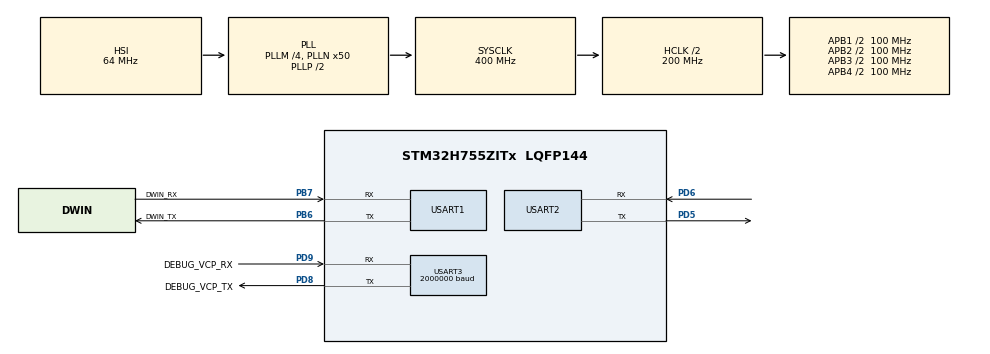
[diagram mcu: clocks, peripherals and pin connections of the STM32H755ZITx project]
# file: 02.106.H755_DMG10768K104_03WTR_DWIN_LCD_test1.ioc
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CortexM4.IPs=FATFS_M4\:I,FREERTOS_M4\:I,IWDG2\:I,RCC,WWDG2\:I,DMA,BDMA,MDMA,NVIC2\:I,ETH,DEBUG,PDM2PCM_M4\:I,PWR,RESMGR_UTILITY,SYS_M4\:I,USB_DEVICE_M4\:I,USB_HOST_M4\:I,CORTEX_M4\:I,GPIO,OPENAMP_M4\:I,VREFBUF,NUCLEO-H755ZI-Q
CortexM7.IPs=FATFS_M7\:I,FREERTOS_M7\:I,IWDG1\:I,RCC\:I,WWDG1\:I,DMA\:I,BDMA\:I,MDMA\:I,NVIC1\:I,ETH\:I,USART3\:I,USB_OTG_FS\:I,SYS\:I,CORTEX_M7\:I,DEBUG\:I,PDM2PCM_M7\:I,PWR\:I,RESMGR_UTILITY\:I,USB_DEVICE_M7\:I,USB_HOST_M7\:I,GPIO\:I,OPENAMP_M7\:I,VREFBUF\:I,NUCLEO-H755ZI-Q\:I,USART1\:I,USART2\:I
Dma.Request0=USART3_TX
Dma.Request1=USART3_RX
Dma.USART3_RX.1.Direction=DMA_PERIPH_TO_MEMORY
Dma.USART3_RX.1.EventEnable=DISABLE
Dma.USART3_RX.1.FIFOMode=DMA_FIFOMODE_DISABLE
Dma.USART3_RX.1.Instance=DMA1_Stream1
Dma.USART3_RX.1.MemDataAlignment=DMA_MDATAALIGN_BYTE
Dma.USART3_RX.1.MemInc=DMA_MINC_ENABLE
Dma.USART3_RX.1.Mode=DMA_CIRCULAR
Dma.USART3_RX.1.PeriphDataAlignment=DMA_PDATAALIGN_BYTE
Dma.USART3_RX.1.PeriphInc=DMA_PINC_DISABLE
Dma.USART3_RX.1.Polarity=HAL_DMAMUX_REQ_GEN_RISING
Dma.USART3_RX.1.Priority=DMA_PRIORITY_LOW
Dma.USART3_RX.1.RequestNumber=1
Dma.USART3_RX.1.SignalID=NONE
Dma.USART3_RX.1.SyncEnable=DISABLE
Dma.USART3_RX.1.SyncPolarity=HAL_DMAMUX_SYNC_NO_EVENT
Dma.USART3_RX.1.SyncRequestNumber=1
Dma.USART3_RX.1.SyncSignalID=NONE
Dma.USART3_TX.0.Direction=DMA_MEMORY_TO_PERIPH
Dma.USART3_TX.0.EventEnable=DISABLE
Dma.USART3_TX.0.FIFOMode=DMA_FIFOMODE_DISABLE
Dma.USART3_TX.0.Instance=DMA1_Stream0
Dma.USART3_TX.0.MemDataAlignment=DMA_MDATAALIGN_BYTE
Dma.USART3_TX.0.MemInc=DMA_MINC_ENABLE
Dma.USART3_TX.0.Mode=DMA_NORMAL
Dma.USART3_TX.0.PeriphDataAlignment=DMA_PDATAALIGN_BYTE
Dma.USART3_TX.0.PeriphInc=DMA_PINC_DISABLE
Dma.USART3_TX.0.Polarity=HAL_DMAMUX_REQ_GEN_RISING
Dma.USART3_TX.0.Priority=DMA_PRIORITY_LOW
Dma.USART3_TX.0.RequestNumber=1
Dma.USART3_TX.0.SignalID=NONE
Dma.USART3_TX.0.SyncEnable=DISABLE
Dma.USART3_TX.0.SyncPolarity=HAL_DMAMUX_SYNC_NO_EVENT
Dma.USART3_TX.0.SyncRequestNumber=1
Dma.USART3_TX.0.SyncSignalID=NONE
Mcu.Family=STM32H7
Mcu.Name=STM32H755ZITx
Mcu.Package=LQFP144
NVIC1.DMA1_Stream0_IRQn=true\:1\:0\:true\:false\:true\:false\:true\:true
NVIC1.DMA1_Stream1_IRQn=true\:1\:0\:true\:false\:true\:false\:true\:true
NVIC1.PriorityGroup=NVIC_PRIORITYGROUP_4
NVIC1.USART1_IRQn=true\:0\:0\:false\:false\:true\:true\:true\:true
NVIC1.USART2_IRQn=true\:0\:0\:false\:false\:true\:true\:true\:true
NVIC1.USART3_IRQn=true\:1\:0\:true\:false\:true\:true\:true\:true
NVIC2.PriorityGroup=NVIC_PRIORITYGROUP_4
PB6.GPIO_Label=DWIN_TX
PB6.Mode=Asynchronous
PB6.PinAttribute=CortexM7
PB6.Signal=USART1_TX
PB7.GPIO_Label=DWIN_RX
PB7.Mode=Asynchronous
PB7.PinAttribute=CortexM7
PB7.Signal=USART1_RX
PD5.Mode=Asynchronous
PD5.PinAttribute=CortexM7
PD5.Signal=USART2_TX
PD6.Mode=Asynchronous
PD6.PinAttribute=CortexM7
PD6.Signal=USART2_RX
PD8.GPIO_Label=DEBUG_VCP_TX
PD8.Mode=Asynchronous
PD8.PinAttribute=CortexM7
PD8.Signal=USART3_TX
PD8.TagName=VCP_RX
PD9.GPIO_Label=DEBUG_VCP_RX
PD9.Mode=Asynchronous
PD9.PinAttribute=CortexM7
PD9.Signal=USART3_RX
PD9.TagName=VCP_TX
ProjectManager.HeapSize=M4-0x200,M7-0x200
ProjectManager.StackSize=M4-0x400,M7-0x400
ProjectManager.TargetToolchain=STM32CubeIDE
RCC.ADCFreq_Value=129000000
RCC.APB1Freq_Value=100000000
RCC.APB2Freq_Value=100000000
RCC.APB3Freq_Value=100000000
RCC.APB4Freq_Value=100000000
RCC.CortexFreq_Value=400000000
RCC.D1PPRE=RCC_APB3_DIV2
RCC.D2PPRE1=RCC_APB1_DIV2
RCC.D2PPRE2=RCC_APB2_DIV2
RCC.D3PPRE=RCC_APB4_DIV2
RCC.DIVM1=4
RCC.DIVN1=50
RCC.DIVQ1=5
RCC.HCLKFreq_Value=200000000
RCC.HPRE=RCC_HCLK_DIV2
RCC.PLL2FRACN=0
RCC.PLL3FRACN=0
RCC.PLLFRACN=0
RCC.SYSCLKFreq_VALUE=400000000
RCC.SYSCLKSource=RCC_SYSCLKSOURCE_PLLCLK
RCC.SupplySource=PWR_DIRECT_SMPS_SUPPLY
RCC.USBFreq_Value=160000000
USART1.VirtualMode-Asynchronous=VM_ASYNC
USART2.VirtualMode-Asynchronous=VM_ASYNC
USART3.BaudRate=2000000
USART3.VirtualMode-Asynchronous=VM_ASYNC
VP_SYS_M4_VS_Systick.Mode=SysTick
board=NUCLEO-H755ZI-Q

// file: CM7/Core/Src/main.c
/* USER CODE BEGIN Header */
/**
  ******************************************************************************
  * @file           : main.c
  * @brief          : Main program body
  ******************************************************************************
  * @attention
  *
  * Copyright (c) 2026 STMicroelectronics.
  * All rights reserved.
  *
  * This software is licensed under terms that can be found in the LICENSE file
  * in the root directory of this software component.
  * If no LICENSE file comes with this software, it is provided AS-IS.
  *
  ******************************************************************************
  */
/* USER CODE END Header */
#include "main.h"

/* USER CODE BEGIN Includes */
#include <stdio.h>
#include <string.h>
#include <stddef.h>
#include <stdarg.h>
#include <stdbool.h>
#include <stdlib.h>
#include "dwin.h"
/* USER CODE END Includes */

/* USER CODE BEGIN PD */

/* DUAL_CORE_BOOT_SYNC_SEQUENCE: Define for dual core boot synchronization    */
/*                             demonstration code based on hardware semaphore */
/* This define is present in both CM7/CM4 projects                            */
/* To comment when developping/debugging on a single core                     */
#define DUAL_CORE_BOOT_SYNC_SEQUENCE

#if defined(DUAL_CORE_BOOT_SYNC_SEQUENCE)
#ifndef HSEM_ID_0
#define HSEM_ID_0 (0U) /* HW semaphore 0*/
#endif
#endif /* DUAL_CORE_BOOT_SYNC_SEQUENCE */

/* USER CODE END PD */

UART_HandleTypeDef huart1;
UART_HandleTypeDef huart4;
UART_HandleTypeDef huart3;
DMA_HandleTypeDef hdma_usart3_tx;
DMA_HandleTypeDef hdma_usart3_rx;

/* USER CODE BEGIN PV */
#define DEBUG_QUEUE_SIZE 8
#define DEBUG_MSG_LEN    128

static char debug_queue[DEBUG_QUEUE_SIZE][DEBUG_MSG_LEN];
static volatile uint8_t dbg_head = 0;
static volatile uint8_t dbg_tail = 0;
static volatile uint8_t dbg_busy = 0;

uint8_t dma_rx_buffer[64];

#define DWIN_UART_HANDLE 		huart1

#define DWIN_FRAME_HEADER_0  	0x5A
#define DWIN_FRAME_HEADER_1  	0xA5

#define DWIN_CMD_WRITE       	0x82
#define DWIN_CMD_READ        	0x83

#define DWIN_VP_TOUCH_CONTROL  	0x0000
#define DWIN_VP_PAGE_CHANGE    	0x0084
#define DWIN_VP_SYSTEM_RESET   	0x0004

uint8_t dwin_rx_buf[32];
uint8_t dwin_rx_idx = 0;
uint8_t dwin_rx_byte;

#define DWIN_RX_BUF_SIZE 64

typedef enum
{
    DWIN_RX_IDLE,
    DWIN_RX_COLLECTING,
    DWIN_RX_READY,
    DWIN_RX_ERROR
} dwin_rx_state_t;

typedef struct
{
    uint8_t  buf[DWIN_RX_BUF_SIZE];
    uint16_t len;
    dwin_rx_state_t state;
} dwin_rx_t;

static dwin_rx_t dwin_rx;

/* USER CODE END PV */

void SystemClock_Config(void);
static void MX_GPIO_Init(void);
static void MX_DMA_Init(void);
static void MX_USART3_UART_Init(void);
static void MX_USART1_UART_Init(void);
static void MX_USART2_UART_Init(void);

/* USER CODE BEGIN 0 */

static uint8_t queue_next(uint8_t idx)
{
    return (idx + 1) % DEBUG_QUEUE_SIZE;
}

void DebugPrint(const char *format, ...)
{
    uint8_t next = queue_next(dbg_head);

    // Queue full → drop message (safe behavior)
    if (next == dbg_tail)
        return;

    va_list args;
    va_start(args, format);
    vsnprintf(debug_queue[dbg_head], DEBUG_MSG_LEN, format, args);
    va_end(args);

    dbg_head = next;

    // Start TX if idle
    if (!dbg_busy)
    {
        dbg_busy = 1;
        HAL_UART_Transmit_DMA(
            &huart3,
            (uint8_t *)debug_queue[dbg_tail],
            strlen(debug_queue[dbg_tail])
        );
    }
}

void check_dma_data(void)
{
    static uint16_t old_pos = 0;
    static uint32_t total_pos = 0;

    uint16_t pos =
        sizeof(dma_rx_buffer) - __HAL_DMA_GET_COUNTER(&hdma_usart3_rx);

    if (pos == old_pos)
        return;

    char msg[128];
    int len = 0;

    if (pos > old_pos)
    {
        for (uint16_t i = old_pos; i < pos; i++)
        {
            len += snprintf(&msg[len], sizeof(msg) - len,
                            "[%lu] %02X '%c'\r\n",
                            total_pos++, dma_rx_buffer[i],
                            dma_rx_buffer[i]);
        }
    }
    else
    {
        for (uint16_t i = old_pos; i < sizeof(dma_rx_buffer); i++)
        {
            len += snprintf(&msg[len], sizeof(msg) - len,
                            "[%lu] %02X '%c'\r\n",
                            total_pos++, dma_rx_buffer[i],
                            dma_rx_buffer[i]);
        }

        for (uint16_t i = 0; i < pos; i++)
        {
            len += snprintf(&msg[len], sizeof(msg) - len,
                            "[%lu] %02X '%c'\r\n",
                            total_pos++, dma_rx_buffer[i],
                            dma_rx_buffer[i]);
        }
    }

    DebugPrint("%s", msg);
    old_pos = pos;
}

void dwin_write_u16(uint16_t vp, uint16_t val)
{
    uint8_t data[2];
    data[0] = (val >> 8) & 0xFF;
    data[1] = val & 0xFF;

    dwin_cmd_write(vp, data, 2);

    DebugPrint("WRITE VP=0x%04X VAL=%d\r\n", vp, val);
}

void dwin_process_rx(uint8_t *buf, uint8_t len)
{
    if (len < 9)
        return;

    if (buf[0] != 0x5A || buf[1] != 0xA5)
        return;

    if (buf[3] != 0x83)   // Return Key Code
        return;

    uint8_t page_id    = buf[4];
    uint8_t control_id = buf[5];

    DebugPrint("DWIN BTN: page=%02X ctrl=%02X\r\n",page_id, control_id);

    uint16_t value = 0;

    if (control_id == 0x01)
        value = 100;
    else if (control_id == 0x02)
        value = 255;

    dwin_write_u16(0x2004, value);
}

void dwin_uart2_test_tx(void)
{
    uint8_t tx_buf[8] = {
        0x5A,
        0xA5,
        0x05,
        0x82,
        0x20,
        0x04,
        0x00,
        0xFF
    };

    HAL_UART_Transmit(&huart4, tx_buf, sizeof(tx_buf), HAL_MAX_DELAY);
}

void dwin_rx_start(void)
{
    dwin_rx.len = 0;
    dwin_rx.state = DWIN_RX_IDLE;

    HAL_UARTEx_ReceiveToIdle_IT(
        &huart4,
        dwin_rx.buf,
        DWIN_RX_BUF_SIZE
    );
}

void dwin_handle_touch(uint8_t *p, uint16_t len)
{
    uint16_t vp =
        ((uint16_t)p[4] << 8) | p[5];

    uint8_t page_id    = p[6];
    uint8_t control_id = p[8];

    DebugPrint(
        "BTN: VP=0x%04X Page=%d Ctrl=%d\r\n",
        vp, page_id, control_id
    );

//    // Example mapping
//    if (page_id == 1 && control_id == 1)
//    {
//        sys.sys_command.pause_toggle = true;
//    }
}

void dwin_process_frame(uint8_t *buf, uint16_t len)
{
    uint8_t cmd = buf[3];

    if (cmd == 0x83)   // Return Key Code
    {
        uint16_t vp = (buf[4] << 8) | buf[5];
        uint8_t key_event = buf[6];
        uint8_t key_id = buf[8];

        DebugPrint(
            "[DWIN] Key VP=0x%04X Event=%d ID=%d\r\n",
            vp, key_event, key_id
        );

        /* Example mapping */
        if (vp == 0x2001 && key_id == 0x01)
        {
            DebugPrint("Button 1 pressed\r\n");
        }
        else if (vp == 0x2002 && key_id == 0x02)
        {
            DebugPrint("Button 2 pressed\r\n");
        }
    }
}

void dwin_rx_fsm(void)
{
    if (dwin_rx.state != DWIN_RX_READY)
        return;

    /* Basic validation */
    if (dwin_rx.len < 6)
    {
        dwin_rx.state = DWIN_RX_ERROR;
        return;
    }

    if (dwin_rx.buf[0] != 0x5A || dwin_rx.buf[1] != 0xA5)
    {
        dwin_rx.state = DWIN_RX_ERROR;
        return;
    }

    uint8_t payload_len = dwin_rx.buf[2];

    if (payload_len + 3 != dwin_rx.len)
    {
        dwin_rx.state = DWIN_RX_ERROR;
        return;
    }

    /* Valid frame → decode */
    dwin_process_frame(dwin_rx.buf, dwin_rx.len);

    dwin_rx.state = DWIN_RX_IDLE;
}

/* USER CODE END 0 */

int main(void)
{

/* USER CODE BEGIN Boot_Mode_Sequence_0 */
#if defined(DUAL_CORE_BOOT_SYNC_SEQUENCE)
  int32_t timeout;
#endif /* DUAL_CORE_BOOT_SYNC_SEQUENCE */
/* USER CODE END Boot_Mode_Sequence_0 */

/* USER CODE BEGIN Boot_Mode_Sequence_1 */
#if defined(DUAL_CORE_BOOT_SYNC_SEQUENCE)
  /* Wait until CPU2 boots and enters in stop mode or timeout*/
  timeout = 0xFFFF;
  while((__HAL_RCC_GET_FLAG(RCC_FLAG_D2CKRDY) != RESET) && (timeout-- > 0));
  if ( timeout < 0 )
  {
  Error_Handler();
  }
#endif /* DUAL_CORE_BOOT_SYNC_SEQUENCE */
/* USER CODE END Boot_Mode_Sequence_1 */
  /* MCU Configuration--------------------------------------------------------*/

  /* Reset of all peripherals, Initializes the Flash interface and the Systick. */
  HAL_Init();

  /* Configure the system clock */
  SystemClock_Config();
/* USER CODE BEGIN Boot_Mode_Sequence_2 */
#if defined(DUAL_CORE_BOOT_SYNC_SEQUENCE)
/* When system initialization is finished, Cortex-M7 will release Cortex-M4 by means of
HSEM notification */
/*HW semaphore Clock enable*/
__HAL_RCC_HSEM_CLK_ENABLE();
/*Take HSEM */
HAL_HSEM_FastTake(HSEM_ID_0);
/*Release HSEM in order to notify the CPU2(CM4)*/
HAL_HSEM_Release(HSEM_ID_0,0);
/* wait until CPU2 wakes up from stop mode */
timeout = 0xFFFF;
while((__HAL_RCC_GET_FLAG(RCC_FLAG_D2CKRDY) == RESET) && (timeout-- > 0));
if ( timeout < 0 )
{
Error_Handler();
}
#endif /* DUAL_CORE_BOOT_SYNC_SEQUENCE */
/* USER CODE END Boot_Mode_Sequence_2 */

  /* Initialize all configured peripherals */
  MX_GPIO_Init();
  MX_DMA_Init();
  MX_USART3_UART_Init();
  MX_USART1_UART_Init();
  MX_USART2_UART_Init();
  /* USER CODE BEGIN 2 */

  DebugPrint("\r\n=== UART3 DMA RX Circular + TX Normal ===\r\n");

  DebugPrint("\r\n=== DWIN LCD Test ===\r\n");

//  HAL_UART_Receive_DMA(&huart3, dma_rx_buffer, sizeof(dma_rx_buffer));

  HAL_UART_Receive_IT(&huart1, &dwin_rx_byte, 1);

//  HAL_StatusTypeDef ret;
//
//  const char msg[] = "UART2 TX OK\r\n";

//  ret = HAL_UART_Transmit(&huart2,(uint8_t *)msg, sizeof(msg) - 1,HAL_MAX_DELAY);
//
//  if(ret == HAL_OK)
//	  DebugPrint("\r\n=== UART2 TX is working");
//  else
//	  DebugPrint("\r\n=== UART2 error");

  dwin_rx_start();

  dwin_uart2_test_tx();
  /* USER CODE END 2 */

  /* Infinite loop */
  while (1)
  {

    /* USER CODE BEGIN 3 */
	  check_dma_data();
	  dwin_rx_fsm();
  }
  /* USER CODE END 3 */
}

void SystemClock_Config(void)
{
  RCC_OscInitTypeDef RCC_OscInitStruct = {0};
  RCC_ClkInitTypeDef RCC_ClkInitStruct = {0};

  /** Supply configuration update enable
  */
  HAL_PWREx_ConfigSupply(PWR_DIRECT_SMPS_SUPPLY);

  /** Configure the main internal regulator output voltage
  */
  __HAL_PWR_VOLTAGESCALING_CONFIG(PWR_REGULATOR_VOLTAGE_SCALE1);

  while(!__HAL_PWR_GET_FLAG(PWR_FLAG_VOSRDY)) {}

  /** Initializes the RCC Oscillators according to the specified parameters
  * in the RCC_OscInitTypeDef structure.
  */
  RCC_OscInitStruct.OscillatorType = RCC_OSCILLATORTYPE_HSI;
  RCC_OscInitStruct.HSIState = RCC_HSI_DIV1;
  RCC_OscInitStruct.HSICalibrationValue = RCC_HSICALIBRATION_DEFAULT;
  RCC_OscInitStruct.PLL.PLLState = RCC_PLL_ON;
  RCC_OscInitStruct.PLL.PLLSource = RCC_PLLSOURCE_HSI;
  RCC_OscInitStruct.PLL.PLLM = 4;
  RCC_OscInitStruct.PLL.PLLN = 50;
  RCC_OscInitStruct.PLL.PLLP = 2;
  RCC_OscInitStruct.PLL.PLLQ = 5;
  RCC_OscInitStruct.PLL.PLLR = 2;
  RCC_OscInitStruct.PLL.PLLRGE = RCC_PLL1VCIRANGE_3;
  RCC_OscInitStruct.PLL.PLLVCOSEL = RCC_PLL1VCOWIDE;
  RCC_OscInitStruct.PLL.PLLFRACN = 0;
  if (HAL_RCC_OscConfig(&RCC_OscInitStruct) != HAL_OK)
  {
    Error_Handler();
  }

  /** Initializes the CPU, AHB and APB buses clocks
  */
  RCC_ClkInitStruct.ClockType = RCC_CLOCKTYPE_HCLK|RCC_CLOCKTYPE_SYSCLK
                              |RCC_CLOCKTYPE_PCLK1|RCC_CLOCKTYPE_PCLK2
                              |RCC_CLOCKTYPE_D3PCLK1|RCC_CLOCKTYPE_D1PCLK1;
  RCC_ClkInitStruct.SYSCLKSource = RCC_SYSCLKSOURCE_PLLCLK;
  RCC_ClkInitStruct.SYSCLKDivider = RCC_SYSCLK_DIV1;
  RCC_ClkInitStruct.AHBCLKDivider = RCC_HCLK_DIV2;
  RCC_ClkInitStruct.APB3CLKDivider = RCC_APB3_DIV2;
  RCC_ClkInitStruct.APB1CLKDivider = RCC_APB1_DIV2;
  RCC_ClkInitStruct.APB2CLKDivider = RCC_APB2_DIV2;
  RCC_ClkInitStruct.APB4CLKDivider = RCC_APB4_DIV2;

  if (HAL_RCC_ClockConfig(&RCC_ClkInitStruct, FLASH_LATENCY_2) != HAL_OK)
  {
    Error_Handler();
  }
}

static void MX_USART1_UART_Init(void)
{

  huart1.Instance = USART1;
  huart1.Init.BaudRate = 115200;
  huart1.Init.WordLength = UART_WORDLENGTH_8B;
  huart1.Init.StopBits = UART_STOPBITS_1;
  huart1.Init.Parity = UART_PARITY_NONE;
  huart1.Init.Mode = UART_MODE_TX_RX;
  huart1.Init.HwFlowCtl = UART_HWCONTROL_NONE;
  huart1.Init.OverSampling = UART_OVERSAMPLING_16;
  huart1.Init.OneBitSampling = UART_ONE_BIT_SAMPLE_DISABLE;
  huart1.Init.ClockPrescaler = UART_PRESCALER_DIV1;
  huart1.AdvancedInit.AdvFeatureInit = UART_ADVFEATURE_NO_INIT;
  if (HAL_UART_Init(&huart1) != HAL_OK)
  {
    Error_Handler();
  }
  if (HAL_UARTEx_SetTxFifoThreshold(&huart1, UART_TXFIFO_THRESHOLD_1_8) != HAL_OK)
  {
    Error_Handler();
  }
  if (HAL_UARTEx_SetRxFifoThreshold(&huart1, UART_RXFIFO_THRESHOLD_1_8) != HAL_OK)
  {
    Error_Handler();
  }
  if (HAL_UARTEx_DisableFifoMode(&huart1) != HAL_OK)
  {
    Error_Handler();
  }

}

static void MX_USART2_UART_Init(void)
{

  huart4.Instance = USART2;
  huart4.Init.BaudRate = 115200;
  huart4.Init.WordLength = UART_WORDLENGTH_8B;
  huart4.Init.StopBits = UART_STOPBITS_1;
  huart4.Init.Parity = UART_PARITY_NONE;
  huart4.Init.Mode = UART_MODE_TX_RX;
  huart4.Init.HwFlowCtl = UART_HWCONTROL_NONE;
  huart4.Init.OverSampling = UART_OVERSAMPLING_16;
  huart4.Init.OneBitSampling = UART_ONE_BIT_SAMPLE_DISABLE;
  huart4.Init.ClockPrescaler = UART_PRESCALER_DIV1;
  huart4.AdvancedInit.AdvFeatureInit = UART_ADVFEATURE_NO_INIT;
  if (HAL_UART_Init(&huart4) != HAL_OK)
  {
    Error_Handler();
  }
  if (HAL_UARTEx_SetTxFifoThreshold(&huart4, UART_TXFIFO_THRESHOLD_1_8) != HAL_OK)
  {
    Error_Handler();
  }
  if (HAL_UARTEx_SetRxFifoThreshold(&huart4, UART_RXFIFO_THRESHOLD_1_8) != HAL_OK)
  {
    Error_Handler();
  }
  if (HAL_UARTEx_DisableFifoMode(&huart4) != HAL_OK)
  {
    Error_Handler();
  }

}

static void MX_USART3_UART_Init(void)
{

  huart3.Instance = USART3;
  huart3.Init.BaudRate = 2000000;
  huart3.Init.WordLength = UART_WORDLENGTH_8B;
  huart3.Init.StopBits = UART_STOPBITS_1;
  huart3.Init.Parity = UART_PARITY_NONE;
  huart3.Init.Mode = UART_MODE_TX_RX;
  huart3.Init.HwFlowCtl = UART_HWCONTROL_NONE;
  huart3.Init.OverSampling = UART_OVERSAMPLING_16;
  huart3.Init.OneBitSampling = UART_ONE_BIT_SAMPLE_DISABLE;
  huart3.Init.ClockPrescaler = UART_PRESCALER_DIV1;
  huart3.AdvancedInit.AdvFeatureInit = UART_ADVFEATURE_NO_INIT;
  if (HAL_UART_Init(&huart3) != HAL_OK)
  {
    Error_Handler();
  }
  if (HAL_UARTEx_SetTxFifoThreshold(&huart3, UART_TXFIFO_THRESHOLD_1_8) != HAL_OK)
  {
    Error_Handler();
  }
  if (HAL_UARTEx_SetRxFifoThreshold(&huart3, UART_RXFIFO_THRESHOLD_1_8) != HAL_OK)
  {
    Error_Handler();
  }
  if (HAL_UARTEx_DisableFifoMode(&huart3) != HAL_OK)
  {
    Error_Handler();
  }

}

static void MX_DMA_Init(void)
{

  /* DMA controller clock enable */
  __HAL_RCC_DMA1_CLK_ENABLE();

  /* DMA interrupt init */
  /* DMA1_Stream0_IRQn interrupt configuration */
  HAL_NVIC_SetPriority(DMA1_Stream0_IRQn, 1, 0);
  HAL_NVIC_EnableIRQ(DMA1_Stream0_IRQn);
  /* DMA1_Stream1_IRQn interrupt configuration */
  HAL_NVIC_SetPriority(DMA1_Stream1_IRQn, 1, 0);
  HAL_NVIC_EnableIRQ(DMA1_Stream1_IRQn);

}

static void MX_GPIO_Init(void)
{

  /* GPIO Ports Clock Enable */
  __HAL_RCC_GPIOD_CLK_ENABLE();
  __HAL_RCC_GPIOB_CLK_ENABLE();

}

/* USER CODE BEGIN 4 */
void HAL_UART_TxCpltCallback(UART_HandleTypeDef *huart)
{

    if (huart == &huart3)
    {
        dbg_tail = queue_next(dbg_tail);

        if (dbg_tail != dbg_head)
        {
            // More messages pending
            HAL_UART_Transmit_DMA(
                &huart3,
                (uint8_t *)debug_queue[dbg_tail],
                strlen(debug_queue[dbg_tail])
            );
        }
        else
        {
            dbg_busy = 0;
        }
    }
}

//void HAL_UART_RxCpltCallback(UART_HandleTypeDef *huart)
//{
//    if (huart == &huart1)
//    {
//        dwin_rx_buf[dwin_rx_idx++] = dwin_rx_byte;
//
//        if (dwin_rx_idx >= 9)
//        {
//            dwin_process_rx(dwin_rx_buf, dwin_rx_idx);
//            dwin_rx_idx = 0;
//        }
//
//        // Re-arm RX
//        HAL_UART_Receive_IT(&huart1, &dwin_rx_byte, 1);
//    }
//}

void HAL_UARTEx_RxEventCallback(
    UART_HandleTypeDef *huart,
    uint16_t Size
)
{
    if (huart == &huart4)
    {
        dwin_rx.len = Size;
        dwin_rx.state = DWIN_RX_READY;

        /* Restart reception immediately */
        HAL_UARTEx_ReceiveToIdle_IT(
            &huart4,
            dwin_rx.buf,
            DWIN_RX_BUF_SIZE
        );
    }
}

/* USER CODE END 4 */

void Error_Handler(void)
{
  __disable_irq();
  while (1)
  {
  }
}
